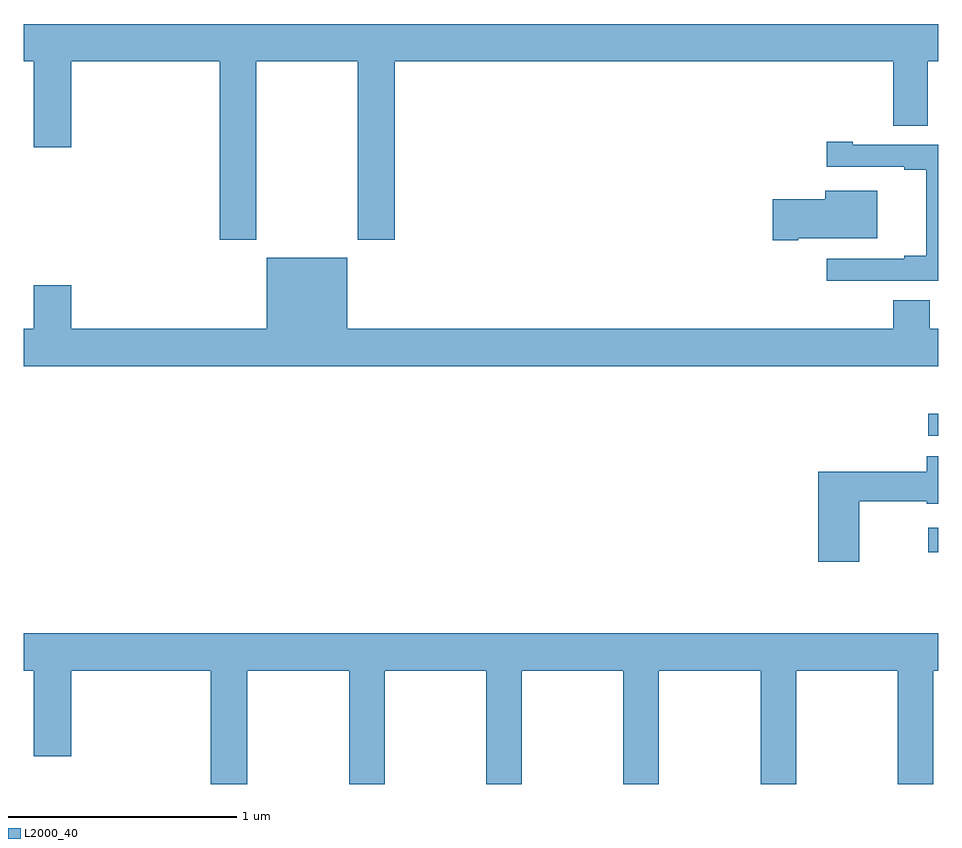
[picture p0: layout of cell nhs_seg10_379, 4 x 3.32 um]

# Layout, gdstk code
import gdstk
lib = gdstk.Library(unit=1e-6, precision=1e-09)
def R(c, l, rs):  # rectangles x0, y0, x1, y1
    for r in rs: c.add(gdstk.rectangle(r[:2], r[2:], *l))
def P(c, l, *ps):  # polygons
    for p in ps: c.add(gdstk.Polygon(p, *l))
L2000_40 = (2000, 40)

nhs_seg10_379 = lib.new_cell('nhs_seg10_379')
R(nhs_seg10_379, L2000_40, [(132.957,1287.513,133,1287.621), (132.957,1288.023,133,1288.119)])
P(nhs_seg10_379, L2000_40, [(130.017,1289.66),(130.462,1289.66),(130.462,1288.881),(130.622,1288.881),(130.622,1289.66),(132.803,1289.66),(132.803,1289.38),(132.955,1289.38),(132.955,1289.66),(133,1289.66),(133,1289.824),(129,1289.824),(129,1289.66),(129.044,1289.66),(129.044,1289.286),(129.208,1289.286),(129.208,1289.66),(129.857,1289.66),(129.857,1288.881),(130.017,1288.881)],
  [(133,1289.295),(132.625,1289.295),(132.625,1289.308),(132.513,1289.308),(132.513,1289.199),(132.851,1289.199),(132.851,1289.187),(132.947,1289.187),(132.947,1288.81),(132.851,1288.81),(132.851,1288.797),(132.513,1288.797),(132.513,1288.701),(133,1288.701)],
  [(132.388,1288.886),(132.733,1288.886),(132.733,1289.095),(132.506,1289.095),(132.506,1289.057),(132.276,1289.057),(132.276,1288.879),(132.388,1288.879)],
  [(133,1288.492),(132.963,1288.492),(132.963,1288.616),(132.803,1288.616),(132.803,1288.492),(130.414,1288.492),(130.414,1288.801),(130.064,1288.801),(130.064,1288.492),(129.208,1288.492),(129.208,1288.681),(129.044,1288.681),(129.044,1288.492),(129,1288.492),(129,1288.328),(133,1288.328)],
  [(132.654,1287.736),(132.95,1287.736),(132.95,1287.725),(133,1287.725),(133,1287.934),(132.95,1287.934),(132.95,1287.865),(132.476,1287.865),(132.476,1287.471),(132.654,1287.471)],
  [(129.977,1286.996),(130.423,1286.996),(130.423,1286.5),(130.578,1286.5),(130.578,1286.996),(131.023,1286.996),(131.023,1286.5),(131.178,1286.5),(131.178,1286.996),(131.623,1286.996),(131.623,1286.5),(131.778,1286.5),(131.778,1286.996),(132.223,1286.996),(132.223,1286.5),(132.378,1286.5),(132.378,1286.996),(132.823,1286.996),(132.823,1286.5),(132.978,1286.5),(132.978,1286.996),(133,1286.996),(133,1287.16),(129,1287.16),(129,1286.996),(129.044,1286.996),(129.044,1286.622),(129.208,1286.622),(129.208,1286.996),(129.818,1286.996),(129.818,1286.5),(129.977,1286.5)])

lib.write_gds('nhs_seg10_379.gds')
